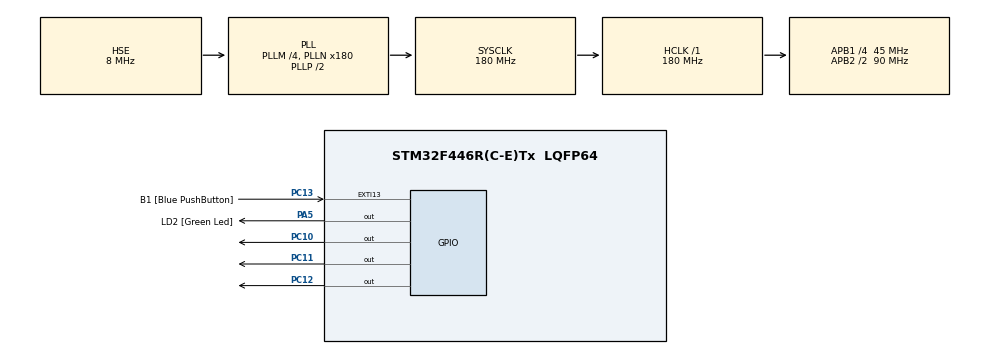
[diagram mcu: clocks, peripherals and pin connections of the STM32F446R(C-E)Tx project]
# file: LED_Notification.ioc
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Mcu.Family=STM32F4
Mcu.Name=STM32F446R(C-E)Tx
Mcu.Package=LQFP64
NVIC.PriorityGroup=NVIC_PRIORITYGROUP_4
NVIC.TIM6_DAC_IRQn=true\:0\:0\:false\:false\:true\:false\:true\:true
NVIC.TimeBase=TIM6_DAC_IRQn
NVIC.TimeBaseIP=TIM6
PA13.GPIO_Label=TMS
PA13.Signal=SYS_JTMS-SWDIO
PA14.GPIO_Label=TCK
PA14.Signal=SYS_JTCK-SWCLK
PA2.GPIO_Label=USART_TX
PA2.Signal=USART2_TX
PA3.GPIO_Label=USART_RX
PA3.Signal=USART2_RX
PA5.GPIO_Label=LD2 [Green Led]
PA5.Signal=GPIO_Output
PB3.GPIO_Label=SWO
PB3.Signal=SYS_JTDO-SWO
PC10.Signal=GPIO_Output
PC11.Signal=GPIO_Output
PC12.Signal=GPIO_Output
PC13.GPIO_Label=B1 [Blue PushButton]
PC13.GPIO_ModeDefaultEXTI=GPIO_MODE_EVT_RISING_FALLING
PC13.Signal=GPXTI13
PC14-OSC32_IN.Signal=RCC_OSC32_IN
PC15-OSC32_OUT.Signal=RCC_OSC32_OUT
PH0-OSC_IN.Mode=HSE-External-Oscillator
PH0-OSC_IN.Signal=RCC_OSC_IN
PH1-OSC_OUT.Mode=HSE-External-Oscillator
PH1-OSC_OUT.Signal=RCC_OSC_OUT
ProjectManager.HeapSize=0x200
ProjectManager.StackSize=0x400
ProjectManager.TargetToolchain=STM32CubeIDE
RCC.AHBFreq_Value=180000000
RCC.APB1CLKDivider=RCC_HCLK_DIV4
RCC.APB1Freq_Value=45000000
RCC.APB1TimFreq_Value=90000000
RCC.APB2CLKDivider=RCC_HCLK_DIV2
RCC.APB2Freq_Value=90000000
RCC.APB2TimFreq_Value=180000000
RCC.CortexFreq_Value=180000000
RCC.FLatency-AdvancedSettings=FLASH_LATENCY_5
RCC.HCLKFreq_Value=180000000
RCC.HSE_VALUE=8000000
RCC.HSI_VALUE=16000000
RCC.LSE_VALUE=32768
RCC.PLLM=4
RCC.PLLN=180
RCC.PLLSourceVirtual=RCC_PLLSOURCE_HSE
RCC.SYSCLKFreq_VALUE=180000000
RCC.SYSCLKSource=RCC_SYSCLKSOURCE_PLLCLK
RCC.USBFreq_Value=180000000
RCC.VCOOutputFreq_Value=360000000
VP_SYS_VS_tim6.Mode=TIM6
board=NUCLEO-F446RE

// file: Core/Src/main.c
/* USER CODE BEGIN Header */
/**
  ******************************************************************************
  * @file           : main.c
  * @brief          : Main program body
  ******************************************************************************
  * @attention
  *
  * Copyright (c) 2022 STMicroelectronics.
  * All rights reserved.
  *
  * This software is licensed under terms that can be found in the LICENSE file
  * in the root directory of this software component.
  * If no LICENSE file comes with this software, it is provided AS-IS.
  *
  ******************************************************************************
  */
/* USER CODE END Header */
#include "main.h"

/* USER CODE BEGIN Includes */
#include "FreeRTOS.h"
#include"task.h"
/* USER CODE END Includes */

/* USER CODE BEGIN PV */
#define DWT_CTRL (*(volatile uint32_t *)0xE0001000)
/* USER CODE END PV */

void SystemClock_Config(void);
static void MX_GPIO_Init(void);
/* USER CODE BEGIN PFP */

static void led_orange_handler (void * prameters );
static void led_yellow_handler (void * prameters );
static void led_green_handler (void * prameters );
static void button_handler (void * prameters );

TaskHandle_t volatile next_task_handle = NULL ;

TaskHandle_t  orange_handle ;
TaskHandle_t  yellow_handle  ;
TaskHandle_t green_handle ;
TaskHandle_t bt_handle ;
/* USER CODE END PFP */

int main(void)
{
  /* USER CODE BEGIN 1 */
	BaseType_t status ;

  /* USER CODE END 1 */

  /* MCU Configuration--------------------------------------------------------*/

  /* Reset of all peripherals, Initializes the Flash interface and the Systick. */
  HAL_Init();

  /* Configure the system clock */
  SystemClock_Config();

  /* Initialize all configured peripherals */
  MX_GPIO_Init();
  /* USER CODE BEGIN 2 */

  MX_GPIO_Init();
  /* USER CODE BEGIN 2 */
  DWT_CTRL |= (1<<0) ;

  SEGGER_UART_init(500000);

  SEGGER_SYSVIEW_Conf() ;
//  SEGGER_SYSVIEW_Start() ;

  status = xTaskCreate(led_orange_handler, "task-3", 200,NULL, 3, &orange_handle) ;
  configASSERT(status == pdPASS) ;
  next_task_handle = orange_handle ;

  status = xTaskCreate(led_yellow_handler, "task-2", 200, NULL,2, &yellow_handle) ;
  configASSERT(status == pdPASS) ;

  status = xTaskCreate(led_green_handler, "task-1", 200, NULL, 1, &green_handle) ;
  configASSERT(status == pdPASS) ;

  status = xTaskCreate(button_handler, "task-4", 200, NULL, 4, &bt_handle) ;
  configASSERT(status == pdPASS) ;

  // start the FreeRTOS scheduler
  vTaskStartScheduler();
  /* USER CODE END 2 */

  /* Infinite loop */
  while (1)
  {

  }
}

void SystemClock_Config(void)
{
  RCC_OscInitTypeDef RCC_OscInitStruct = {0};
  RCC_ClkInitTypeDef RCC_ClkInitStruct = {0};

  /** Configure the main internal regulator output voltage
  */
  __HAL_RCC_PWR_CLK_ENABLE();
  __HAL_PWR_VOLTAGESCALING_CONFIG(PWR_REGULATOR_VOLTAGE_SCALE1);

  /** Initializes the RCC Oscillators according to the specified parameters
  * in the RCC_OscInitTypeDef structure.
  */
  RCC_OscInitStruct.OscillatorType = RCC_OSCILLATORTYPE_HSE;
  RCC_OscInitStruct.HSEState = RCC_HSE_ON;
  RCC_OscInitStruct.PLL.PLLState = RCC_PLL_ON;
  RCC_OscInitStruct.PLL.PLLSource = RCC_PLLSOURCE_HSE;
  RCC_OscInitStruct.PLL.PLLM = 4;
  RCC_OscInitStruct.PLL.PLLN = 180;
  RCC_OscInitStruct.PLL.PLLP = RCC_PLLP_DIV2;
  RCC_OscInitStruct.PLL.PLLQ = 2;
  RCC_OscInitStruct.PLL.PLLR = 2;
  if (HAL_RCC_OscConfig(&RCC_OscInitStruct) != HAL_OK)
  {
    Error_Handler();
  }

  /** Activate the Over-Drive mode
  */
  if (HAL_PWREx_EnableOverDrive() != HAL_OK)
  {
    Error_Handler();
  }

  /** Initializes the CPU, AHB and APB buses clocks
  */
  RCC_ClkInitStruct.ClockType = RCC_CLOCKTYPE_HCLK|RCC_CLOCKTYPE_SYSCLK
                              |RCC_CLOCKTYPE_PCLK1|RCC_CLOCKTYPE_PCLK2;
  RCC_ClkInitStruct.SYSCLKSource = RCC_SYSCLKSOURCE_PLLCLK;
  RCC_ClkInitStruct.AHBCLKDivider = RCC_SYSCLK_DIV1;
  RCC_ClkInitStruct.APB1CLKDivider = RCC_HCLK_DIV4;
  RCC_ClkInitStruct.APB2CLKDivider = RCC_HCLK_DIV2;

  if (HAL_RCC_ClockConfig(&RCC_ClkInitStruct, FLASH_LATENCY_5) != HAL_OK)
  {
    Error_Handler();
  }
}

static void MX_GPIO_Init(void)
{
  GPIO_InitTypeDef GPIO_InitStruct = {0};

  /* GPIO Ports Clock Enable */
  __HAL_RCC_GPIOC_CLK_ENABLE();
  __HAL_RCC_GPIOH_CLK_ENABLE();
  __HAL_RCC_GPIOA_CLK_ENABLE();
  __HAL_RCC_GPIOB_CLK_ENABLE();

  /*Configure GPIO pin Output Level */
  HAL_GPIO_WritePin(LD2_GPIO_Port, LD2_Pin, GPIO_PIN_RESET);

  /*Configure GPIO pin Output Level */
  HAL_GPIO_WritePin(GPIOC, GPIO_PIN_10|GPIO_PIN_11|GPIO_PIN_12, GPIO_PIN_RESET);

  /*Configure GPIO pin : B1_Pin */
  GPIO_InitStruct.Pin = B1_Pin;
  GPIO_InitStruct.Mode = GPIO_MODE_EVT_RISING_FALLING;
  GPIO_InitStruct.Pull = GPIO_NOPULL;
  HAL_GPIO_Init(B1_GPIO_Port, &GPIO_InitStruct);

  /*Configure GPIO pins : USART_TX_Pin USART_RX_Pin */
  GPIO_InitStruct.Pin = USART_TX_Pin|USART_RX_Pin;
  GPIO_InitStruct.Mode = GPIO_MODE_AF_PP;
  GPIO_InitStruct.Pull = GPIO_NOPULL;
  GPIO_InitStruct.Speed = GPIO_SPEED_FREQ_VERY_HIGH;
  GPIO_InitStruct.Alternate = GPIO_AF7_USART2;
  HAL_GPIO_Init(GPIOA, &GPIO_InitStruct);

  /*Configure GPIO pin : LD2_Pin */
  GPIO_InitStruct.Pin = LD2_Pin;
  GPIO_InitStruct.Mode = GPIO_MODE_OUTPUT_PP;
  GPIO_InitStruct.Pull = GPIO_NOPULL;
  GPIO_InitStruct.Speed = GPIO_SPEED_FREQ_LOW;
  HAL_GPIO_Init(LD2_GPIO_Port, &GPIO_InitStruct);

  /*Configure GPIO pins : PC10 PC11 PC12 */
  GPIO_InitStruct.Pin = GPIO_PIN_10|GPIO_PIN_11|GPIO_PIN_12;
  GPIO_InitStruct.Mode = GPIO_MODE_OUTPUT_PP;
  GPIO_InitStruct.Pull = GPIO_NOPULL;
  GPIO_InitStruct.Speed = GPIO_SPEED_FREQ_LOW;
  HAL_GPIO_Init(GPIOC, &GPIO_InitStruct);

}

/* USER CODE BEGIN 4 */
static void button_handler (void * prameters )
{
	uint8_t bt_read = 1 ;
	uint8_t pre_bt_read = 1 ;
	while(1)
	{
		bt_read = HAL_GPIO_ReadPin(GPIOC, GPIO_PIN_13);
		if (!bt_read)
		{
			if (pre_bt_read)
			{
				xTaskNotify(next_task_handle,0,eNoAction);
			}

		}
		pre_bt_read =bt_read ;
		vTaskDelay(pdMS_TO_TICKS(10));
	}
}

static void led_orange_handler (void * prameters )
{
	BaseType_t status ;
	while(1)
	{
		SEGGER_SYSVIEW_PrintfTarget("Toggling orange led") ;
		HAL_GPIO_TogglePin(GPIOC, GPIO_PIN_11);
		status = xTaskNotifyWait(0,0,NULL,pdMS_TO_TICKS(900));
		if (status == pdTRUE)
		{
			vTaskSuspendAll() ;
			next_task_handle = yellow_handle ;
			xTaskResumeAll() ;
			HAL_GPIO_WritePin(GPIOC, GPIO_PIN_11, GPIO_PIN_SET);
			SEGGER_SYSVIEW_PrintfTarget("Delete orange led task ") ;
			vTaskDelete(NULL);
		}

	}
}
static void led_yellow_handler (void * prameters )
{
	BaseType_t status ;
	while(1)
	{
		SEGGER_SYSVIEW_PrintfTarget("Toggling yellow led") ;
		HAL_GPIO_TogglePin(GPIOC, GPIO_PIN_10);
		status = xTaskNotifyWait(0,0,NULL,pdMS_TO_TICKS(600));
		if (status == pdTRUE)
		{
			vTaskSuspendAll() ;
			next_task_handle = green_handle ;
			xTaskResumeAll() ;
			HAL_GPIO_WritePin(GPIOC, GPIO_PIN_10, GPIO_PIN_SET);
			SEGGER_SYSVIEW_PrintfTarget("Delete yellow led task ") ;
			vTaskDelete(NULL);
		}

	}
}
static void led_green_handler (void * prameters )
{
	BaseType_t status ;
	while(1)
	{
		SEGGER_SYSVIEW_PrintfTarget("Toggling green led") ;
		HAL_GPIO_TogglePin(GPIOC, GPIO_PIN_12);
		status = xTaskNotifyWait(0,0,NULL,pdMS_TO_TICKS(300));
		if (status == pdTRUE)
		{
			vTaskSuspendAll() ;
			next_task_handle = NULL ;
			xTaskResumeAll() ;
			HAL_GPIO_WritePin(GPIOC, GPIO_PIN_12, GPIO_PIN_SET);
			SEGGER_SYSVIEW_PrintfTarget("Delete green led task ") ;
			vTaskDelete(bt_handle);
			vTaskDelete(NULL);
		}

	}
}

/* USER CODE END 4 */

void HAL_TIM_PeriodElapsedCallback(TIM_HandleTypeDef *htim)
{
  if (htim->Instance == TIM6) {
    HAL_IncTick();
  }
}

void Error_Handler(void)
{
  __disable_irq();
  while (1)
  {
  }
}
